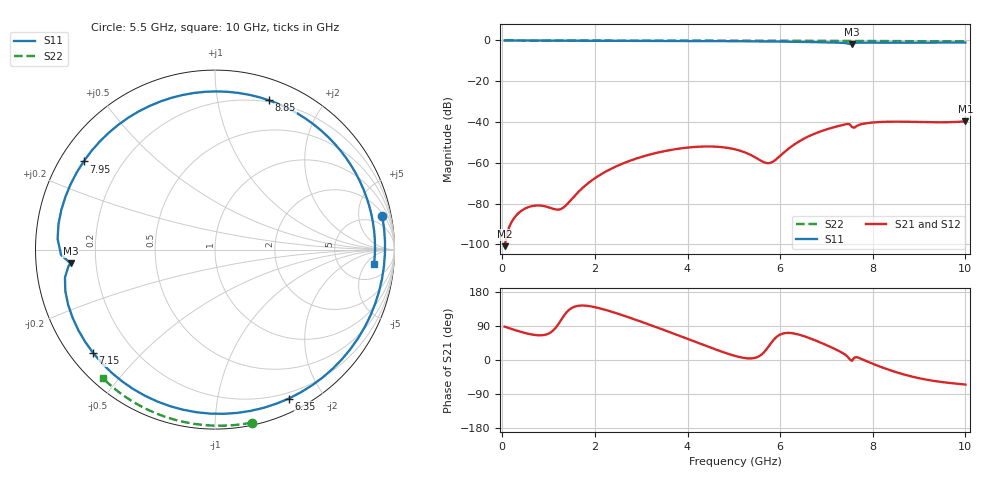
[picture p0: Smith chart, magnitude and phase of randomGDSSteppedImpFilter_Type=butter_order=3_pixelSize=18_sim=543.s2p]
! freq	dB(S11)	phase(S11)	dB(S12)	phase(S12)
!  dB(S21)	phase(S21)	dB(S22)	phase(S22)
!S-par simulation data
#  GHz  S  DB  R 50
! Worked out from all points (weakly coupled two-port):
!   200 points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, 50 MHz to 10 GHz, reference 50 ohm
!   highest |S21| = -39.67 dB at 10 GHz (marker M1); lowest = -100.9 dB at 50 MHz (marker M2)
!   lowest |S11| = -1.8 dB at 7.55 GHz (marker M3), VSWR 9.45, Z = 5.3 - j2.34 ohm
!   |S11| at or under -10 dB: nowhere
!   |S22| runs from -0.4 to 0.0 dB; largest |S21 - S12| = 0
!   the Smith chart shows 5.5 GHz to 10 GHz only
!   S11 on the Smith chart (normalised r, x): 5.5 GHz: 2.50, +9.55; 6.35 GHz: 0.14, -1.60; 7.15 GHz: 0.07, -0.37; 7.95 GHz: 0.07, +0.30; 8.85 GHz: 0.18, +1.41; 10 GHz: 11, -8
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0.05  -0.00 -3.4  -100.86 88.0  -100.86 88.0  -0.00 -0.8
0.45  -0.04 -30.4  -82.95 72.6  -82.95 72.6  -0.01 -6.8
0.95  -0.08 -63.0  -81.47 67.4  -81.47 67.4  -0.02 -14.3
1.4  -0.11 -91.0  -80.26 127.5  -80.26 127.5  -0.03 -21.0
1.75  -0.13 -111.8  -71.97 143.7  -71.97 143.7  -0.03 -26.2
2.6  -0.17 -159.8  -60.35 118.0  -60.35 118.0  -0.05 -38.6
3.4  -0.22 155.3  -54.75 83.3  -54.75 83.3  -0.07 -49.9
4.3  -0.29 100.3  -52.04 41.8  -52.04 41.8  -0.09 -62.2
4.7  -0.33 72.9  -52.22 23.7  -52.22 23.7  -0.10 -67.6
5.05  -0.37 47.1  -53.51 9.9  -53.51 9.9  -0.11 -72.2
5.5  -0.44 11.2  -57.83 7.4  -57.83 7.4  -0.13 -78.0
5.8  -0.51 -14.3  -59.92 44.1  -59.92 44.1  -0.14 -81.8
6.35  -0.67 -63.6  -50.33 68.7  -50.33 68.7  -0.16 -88.7
6.7  -0.80 -96.4  -46.14 54.7  -46.14 54.7  -0.18 -93.0
7.15  -1.01 -139.7  -42.62 30.9  -42.62 30.9  -0.20 -98.4
7.55  -1.85 -174.6  -42.43 -2.3  -42.43 -2.3  -0.23 -103.2
7.7  -1.07 170.6  -41.43 5.5  -41.43 5.5  -0.24 -105.0
7.95  -1.10 146.1  -40.34 -7.5  -40.34 -7.5  -0.26 -107.9
8.35  -1.11 110.3  -39.84 -25.9  -39.84 -25.9  -0.29 -112.5
8.85  -1.07 70.0  -39.91 -43.9  -39.91 -43.9  -0.33 -118.3
9.45  -0.99 28.4  -40.13 -57.5  -40.13 -57.5  -0.39 -125.1
10  -1.01 -5.3  -39.67 -64.8  -39.67 -64.8  -0.44 -131.3
